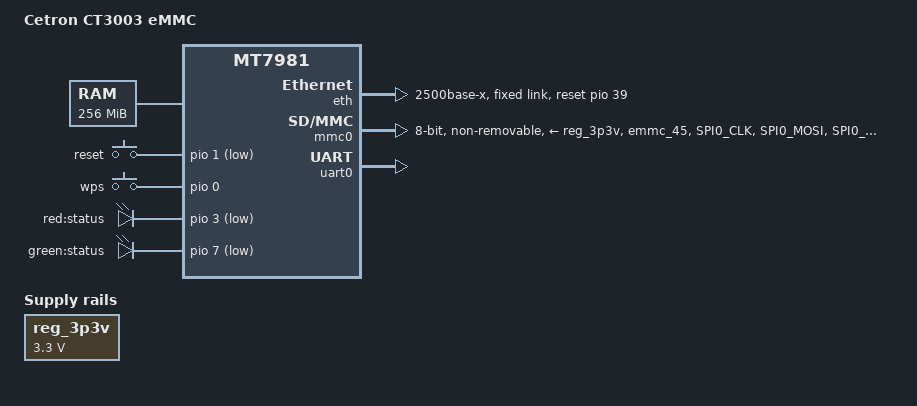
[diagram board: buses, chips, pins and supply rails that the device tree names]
// SPDX-License-Identifier: GPL-2.0-or-later

/dts-v1/;
#include "mt7981.dtsi"
#include <dt-bindings/gpio/gpio.h>
#include <dt-bindings/input/linux-event-codes.h>

/ {
	#address-cells = <1>;
	#size-cells = <1>;
	model = "Cetron CT3003 eMMC";
	compatible = "cetron,ct3003-emmc", "mediatek,mt7981";

	chosen {
		stdout-path = &uart0;
		tick-timer = &timer0;
	};

	memory@40000000 {
		device_type = "memory";
		reg = <0x40000000 0x10000000>;
	};

	reg_3p3v: regulator-3p3v {
		compatible = "regulator-fixed";
		regulator-name = "fixed-3.3V";
		regulator-min-microvolt = <3300000>;
		regulator-max-microvolt = <3300000>;
		regulator-boot-on;
		regulator-always-on;
	};

	gpio-keys {
		compatible = "gpio-keys";

		button-reset {
			label = "reset";
			linux,code = <KEY_RESTART>;
			gpios = <&pio 1 GPIO_ACTIVE_LOW>;
		};

		button-wps {
			label = "wps";
			linux,code = <KEY_WPS_BUTTON>;
			gpios = <&pio 0 GPIO_ACTIVE_HIGH>;
		};
	};

	gpio-leds {
		compatible = "gpio-leds";

		led_status_red: led-0 {
			label = "red:status";
			gpios = <&pio 3 GPIO_ACTIVE_LOW>;
			default-state = "on";
		};

		led_status_green: led-1 {
			label = "green:status";
			gpios = <&pio 7 GPIO_ACTIVE_LOW>;
			default-state = "off";
		};
	};
};

&eth {
	status = "okay";
	mediatek,gmac-id = <0>;
	phy-mode = "2500base-x";
	mediatek,switch = "mt7531";
	reset-gpios = <&pio 39 GPIO_ACTIVE_HIGH>;

	fixed-link {
		speed = <2500>;
		full-duplex;
	};
};

&mmc0 {
	pinctrl-names = "default";
	pinctrl-0 = <&mmc0_pins_default>;
	max-frequency = <26000000>;
	bus-width = <8>;
	cap-mmc-hw-highspeed;
	cap-mmc-hw-reset;
	vmmc-supply = <&reg_3p3v>;
	non-removable;
	status = "okay";
};

&pio {
	mmc0_pins_default: mmc0-pins-default {
		mux {
			function = "flash";
			groups = "emmc_45";
		};

		conf-cmd-dat {
			pins = "SPI0_CLK", "SPI0_MOSI", "SPI0_MISO",
			       "SPI0_CS", "SPI0_HOLD", "SPI0_WP",
			       "SPI1_CLK", "SPI1_MOSI", "SPI1_MISO";
			input-enable;
			drive-strength = <MTK_DRIVE_4mA>;
			bias-pull-up = <MTK_PUPD_SET_R1R0_01>;
		};

		conf-clk {
			pins = "SPI1_CS";
			drive-strength = <MTK_DRIVE_6mA>;
			bias-pull-down = <MTK_PUPD_SET_R1R0_10>;
		};

		conf-rst {
			pins = "PWM0";
			drive-strength = <MTK_DRIVE_4mA>;
			bias-pull-up = <MTK_PUPD_SET_R1R0_01>;
		};
	};
};

&uart0 {
	mediatek,force-highspeed;
	status = "okay";
};

&watchdog {
	status = "disabled";
};
